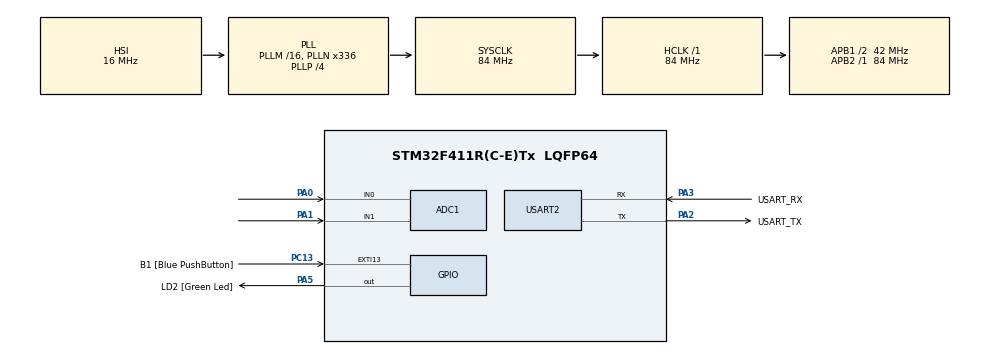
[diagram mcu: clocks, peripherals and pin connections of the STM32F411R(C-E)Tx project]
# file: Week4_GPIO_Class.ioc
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ADC1.Channel-1\#ChannelRegularConversion=ADC_CHANNEL_0
ADC1.Channel-2\#ChannelRegularConversion=ADC_CHANNEL_1
ADC1.Channel-3\#ChannelRegularConversion=ADC_CHANNEL_TEMPSENSOR
ADC1.Channel-4\#ChannelRegularConversion=ADC_CHANNEL_VREFINT
ADC1.ContinuousConvMode=ENABLE
ADC1.DMAContinuousRequests=ENABLE
ADC1.NbrOfConversion=4
ADC1.NbrOfConversionFlag=1
ADC1.Rank-1\#ChannelRegularConversion=1
ADC1.Rank-2\#ChannelRegularConversion=2
ADC1.Rank-3\#ChannelRegularConversion=3
ADC1.Rank-4\#ChannelRegularConversion=4
ADC1.SamplingTime-1\#ChannelRegularConversion=ADC_SAMPLETIME_56CYCLES
ADC1.SamplingTime-2\#ChannelRegularConversion=ADC_SAMPLETIME_56CYCLES
ADC1.SamplingTime-3\#ChannelRegularConversion=ADC_SAMPLETIME_56CYCLES
ADC1.SamplingTime-4\#ChannelRegularConversion=ADC_SAMPLETIME_56CYCLES
ADC1.ScanConvMode=ENABLE
ADC1.master=1
Dma.ADC1.0.Direction=DMA_PERIPH_TO_MEMORY
Dma.ADC1.0.FIFOMode=DMA_FIFOMODE_DISABLE
Dma.ADC1.0.Instance=DMA2_Stream0
Dma.ADC1.0.MemDataAlignment=DMA_MDATAALIGN_WORD
Dma.ADC1.0.MemInc=DMA_MINC_ENABLE
Dma.ADC1.0.Mode=DMA_CIRCULAR
Dma.ADC1.0.PeriphDataAlignment=DMA_PDATAALIGN_WORD
Dma.ADC1.0.PeriphInc=DMA_PINC_DISABLE
Dma.ADC1.0.Priority=DMA_PRIORITY_LOW
Dma.Request0=ADC1
Mcu.Family=STM32F4
Mcu.Name=STM32F411R(C-E)Tx
Mcu.Package=LQFP64
NVIC.DMA2_Stream0_IRQn=true\:0\:0\:false\:false\:true\:false\:true
NVIC.EXTI15_10_IRQn=true\:0\:0\:false\:false\:true\:true\:true
NVIC.PriorityGroup=NVIC_PRIORITYGROUP_0
PA0-WKUP.Signal=ADCx_IN0
PA1.Signal=ADCx_IN1
PA13.GPIO_Label=TMS
PA13.Mode=Serial_Wire
PA13.Signal=SYS_JTMS-SWDIO
PA14.GPIO_Label=TCK
PA14.Mode=Serial_Wire
PA14.Signal=SYS_JTCK-SWCLK
PA2.GPIO_Label=USART_TX
PA2.Mode=Asynchronous
PA2.Signal=USART2_TX
PA3.GPIO_Label=USART_RX
PA3.Mode=Asynchronous
PA3.Signal=USART2_RX
PA5.GPIO_Label=LD2 [Green Led]
PA5.Signal=GPIO_Output
PB3.GPIO_Label=SWO
PB3.Signal=SYS_JTDO-SWO
PC13-ANTI_TAMP.GPIO_Label=B1 [Blue PushButton]
PC13-ANTI_TAMP.GPIO_ModeDefaultEXTI=GPIO_MODE_IT_RISING_FALLING
PC13-ANTI_TAMP.GPIO_PuPd=GPIO_PULLUP
PC13-ANTI_TAMP.Signal=GPXTI13
PC14-OSC32_IN.Mode=LSE-External-Oscillator
PC14-OSC32_IN.Signal=RCC_OSC32_IN
PC15-OSC32_OUT.Mode=LSE-External-Oscillator
PC15-OSC32_OUT.Signal=RCC_OSC32_OUT
PH0\ -\ OSC_IN.Mode=HSE-External-Clock-Source
PH0\ -\ OSC_IN.Signal=RCC_OSC_IN
PH1\ -\ OSC_OUT.Mode=HSE-External-Clock-Source
PH1\ -\ OSC_OUT.Signal=RCC_OSC_OUT
ProjectManager.HeapSize=0x200
ProjectManager.StackSize=0x400
ProjectManager.TargetToolchain=STM32CubeIDE
RCC.48MHZClocksFreq_Value=84000000
RCC.AHBFreq_Value=84000000
RCC.APB1CLKDivider=RCC_HCLK_DIV2
RCC.APB1Freq_Value=42000000
RCC.APB1TimFreq_Value=84000000
RCC.APB2Freq_Value=84000000
RCC.APB2TimFreq_Value=84000000
RCC.CortexFreq_Value=84000000
RCC.FLatency-AdvancedSettings=FLASH_LATENCY_2
RCC.HCLKFreq_Value=84000000
RCC.HSE_VALUE=8000000
RCC.HSI_VALUE=16000000
RCC.PLLN=336
RCC.PLLP=RCC_PLLP_DIV4
RCC.SYSCLKFreq_VALUE=84000000
RCC.SYSCLKSource=RCC_SYSCLKSOURCE_PLLCLK
RCC.VCOOutputFreq_Value=336000000
SH.ADCx_IN0.0=ADC1_IN0,IN0
SH.ADCx_IN1.0=ADC1_IN1,IN1
USART2.VirtualMode=VM_ASYNC
VP_ADC1_TempSens_Input.Mode=IN-TempSens
VP_ADC1_Vref_Input.Mode=IN-Vrefint
board=NUCLEO-F411RE

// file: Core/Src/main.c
/* USER CODE BEGIN Header */
/**
  ******************************************************************************
  * @file           : main.c
  * @brief          : Main program body
  ******************************************************************************
  * @attention
  *
  * <h2><center>&copy; Copyright (c) 2021 STMicroelectronics.
  * All rights reserved.</center></h2>
  *
  * This software component is licensed by ST under BSD 3-Clause license,
  * the "License"; You may not use this file except in compliance with the
  * License. You may obtain a copy of the License at:
  *                        opensource.org/licenses/BSD-3-Clause
  *
  ******************************************************************************
  */
/* USER CODE END Header */
#include "main.h"

ADC_HandleTypeDef hadc1;
DMA_HandleTypeDef hdma_adc1;

UART_HandleTypeDef huart2;

/* USER CODE BEGIN PV */
uint32_t ADCData[4]={0};
uint8_t Mode =0;
uint32_t TimeDelay=0;
uint32_t TimeStamp =0;
uint32_t TimeStampOut =0;
uint32_t count =0;
int k=0;
/* USER CODE END PV */

void SystemClock_Config(void);
static void MX_GPIO_Init(void);
static void MX_DMA_Init(void);
static void MX_USART2_UART_Init(void);
static void MX_ADC1_Init(void);

int main(void)
{

  /* MCU Configuration--------------------------------------------------------*/

  /* Reset of all peripherals, Initializes the Flash interface and the Systick. */
  HAL_Init();

  /* Configure the system clock */
  SystemClock_Config();

  /* Initialize all configured peripherals */
  MX_GPIO_Init();
  MX_DMA_Init();
  MX_USART2_UART_Init();
  MX_ADC1_Init();
  /* USER CODE BEGIN 2 */
  HAL_ADC_Start_DMA(&hadc1, ADCData, 4);
  /* USER CODE END 2 */

  /* Infinite loop */
  /* USER CODE BEGIN WHILE */
  HAL_GPIO_WritePin(LD2_GPIO_Port, LD2_Pin, GPIO_PIN_SET);
  while (1)
  {
    /* USER CODE END WHILE */

    /* USER CODE BEGIN 3 */

	  if(Mode ==1 &&k==0){
		  HAL_GPIO_WritePin(LD2_GPIO_Port, LD2_Pin, GPIO_PIN_RESET);
		  TimeDelay = 1000 +((22695477* ADCData[0]) +ADCData[1])% 10000;
		  TimeStamp = HAL_GetTick();
		  while(TimeDelay >= (HAL_GetTick()-TimeStamp)){
			  if ((Mode ==0) && (HAL_GPIO_ReadPin(LD2_GPIO_Port,LD2_Pin) == GPIO_PIN_RESET)){
				  count=999999999 ;
		  	  }
		  }
		  HAL_GPIO_WritePin(LD2_GPIO_Port, LD2_Pin, GPIO_PIN_SET);
		  k=1;
	  }

	  if(Mode ==0 && k==1){
		  TimeStampOut =HAL_GetTick();
		  count = TimeStampOut - (TimeDelay + TimeStamp);
		  k=0;
	  }
  }
  /* USER CODE END 3 */
}

void SystemClock_Config(void)
{
  RCC_OscInitTypeDef RCC_OscInitStruct = {0};
  RCC_ClkInitTypeDef RCC_ClkInitStruct = {0};

  /** Configure the main internal regulator output voltage
  */
  __HAL_RCC_PWR_CLK_ENABLE();
  __HAL_PWR_VOLTAGESCALING_CONFIG(PWR_REGULATOR_VOLTAGE_SCALE1);
  /** Initializes the RCC Oscillators according to the specified parameters
  * in the RCC_OscInitTypeDef structure.
  */
  RCC_OscInitStruct.OscillatorType = RCC_OSCILLATORTYPE_HSI;
  RCC_OscInitStruct.HSIState = RCC_HSI_ON;
  RCC_OscInitStruct.HSICalibrationValue = RCC_HSICALIBRATION_DEFAULT;
  RCC_OscInitStruct.PLL.PLLState = RCC_PLL_ON;
  RCC_OscInitStruct.PLL.PLLSource = RCC_PLLSOURCE_HSI;
  RCC_OscInitStruct.PLL.PLLM = 16;
  RCC_OscInitStruct.PLL.PLLN = 336;
  RCC_OscInitStruct.PLL.PLLP = RCC_PLLP_DIV4;
  RCC_OscInitStruct.PLL.PLLQ = 4;
  if (HAL_RCC_OscConfig(&RCC_OscInitStruct) != HAL_OK)
  {
    Error_Handler();
  }
  /** Initializes the CPU, AHB and APB buses clocks
  */
  RCC_ClkInitStruct.ClockType = RCC_CLOCKTYPE_HCLK|RCC_CLOCKTYPE_SYSCLK
                              |RCC_CLOCKTYPE_PCLK1|RCC_CLOCKTYPE_PCLK2;
  RCC_ClkInitStruct.SYSCLKSource = RCC_SYSCLKSOURCE_PLLCLK;
  RCC_ClkInitStruct.AHBCLKDivider = RCC_SYSCLK_DIV1;
  RCC_ClkInitStruct.APB1CLKDivider = RCC_HCLK_DIV2;
  RCC_ClkInitStruct.APB2CLKDivider = RCC_HCLK_DIV1;

  if (HAL_RCC_ClockConfig(&RCC_ClkInitStruct, FLASH_LATENCY_2) != HAL_OK)
  {
    Error_Handler();
  }
}

static void MX_ADC1_Init(void)
{

  ADC_ChannelConfTypeDef sConfig = {0};

  /** Configure the global features of the ADC (Clock, Resolution, Data Alignment and number of conversion)
  */
  hadc1.Instance = ADC1;
  hadc1.Init.ClockPrescaler = ADC_CLOCK_SYNC_PCLK_DIV4;
  hadc1.Init.Resolution = ADC_RESOLUTION_12B;
  hadc1.Init.ScanConvMode = ENABLE;
  hadc1.Init.ContinuousConvMode = ENABLE;
  hadc1.Init.DiscontinuousConvMode = DISABLE;
  hadc1.Init.ExternalTrigConvEdge = ADC_EXTERNALTRIGCONVEDGE_NONE;
  hadc1.Init.ExternalTrigConv = ADC_SOFTWARE_START;
  hadc1.Init.DataAlign = ADC_DATAALIGN_RIGHT;
  hadc1.Init.NbrOfConversion = 4;
  hadc1.Init.DMAContinuousRequests = ENABLE;
  hadc1.Init.EOCSelection = ADC_EOC_SINGLE_CONV;
  if (HAL_ADC_Init(&hadc1) != HAL_OK)
  {
    Error_Handler();
  }
  /** Configure for the selected ADC regular channel its corresponding rank in the sequencer and its sample time.
  */
  sConfig.Channel = ADC_CHANNEL_0;
  sConfig.Rank = 1;
  sConfig.SamplingTime = ADC_SAMPLETIME_56CYCLES;
  if (HAL_ADC_ConfigChannel(&hadc1, &sConfig) != HAL_OK)
  {
    Error_Handler();
  }
  /** Configure for the selected ADC regular channel its corresponding rank in the sequencer and its sample time.
  */
  sConfig.Channel = ADC_CHANNEL_1;
  sConfig.Rank = 2;
  if (HAL_ADC_ConfigChannel(&hadc1, &sConfig) != HAL_OK)
  {
    Error_Handler();
  }
  /** Configure for the selected ADC regular channel its corresponding rank in the sequencer and its sample time.
  */
  sConfig.Channel = ADC_CHANNEL_TEMPSENSOR;
  sConfig.Rank = 3;
  if (HAL_ADC_ConfigChannel(&hadc1, &sConfig) != HAL_OK)
  {
    Error_Handler();
  }
  /** Configure for the selected ADC regular channel its corresponding rank in the sequencer and its sample time.
  */
  sConfig.Channel = ADC_CHANNEL_VREFINT;
  sConfig.Rank = 4;
  if (HAL_ADC_ConfigChannel(&hadc1, &sConfig) != HAL_OK)
  {
    Error_Handler();
  }

}

static void MX_USART2_UART_Init(void)
{

  huart2.Instance = USART2;
  huart2.Init.BaudRate = 115200;
  huart2.Init.WordLength = UART_WORDLENGTH_8B;
  huart2.Init.StopBits = UART_STOPBITS_1;
  huart2.Init.Parity = UART_PARITY_NONE;
  huart2.Init.Mode = UART_MODE_TX_RX;
  huart2.Init.HwFlowCtl = UART_HWCONTROL_NONE;
  huart2.Init.OverSampling = UART_OVERSAMPLING_16;
  if (HAL_UART_Init(&huart2) != HAL_OK)
  {
    Error_Handler();
  }

}

static void MX_DMA_Init(void)
{

  /* DMA controller clock enable */
  __HAL_RCC_DMA2_CLK_ENABLE();

  /* DMA interrupt init */
  /* DMA2_Stream0_IRQn interrupt configuration */
  HAL_NVIC_SetPriority(DMA2_Stream0_IRQn, 0, 0);
  HAL_NVIC_EnableIRQ(DMA2_Stream0_IRQn);

}

static void MX_GPIO_Init(void)
{
  GPIO_InitTypeDef GPIO_InitStruct = {0};

  /* GPIO Ports Clock Enable */
  __HAL_RCC_GPIOC_CLK_ENABLE();
  __HAL_RCC_GPIOH_CLK_ENABLE();
  __HAL_RCC_GPIOA_CLK_ENABLE();
  __HAL_RCC_GPIOB_CLK_ENABLE();

  /*Configure GPIO pin Output Level */
  HAL_GPIO_WritePin(LD2_GPIO_Port, LD2_Pin, GPIO_PIN_RESET);

  /*Configure GPIO pin : B1_Pin */
  GPIO_InitStruct.Pin = B1_Pin;
  GPIO_InitStruct.Mode = GPIO_MODE_IT_RISING_FALLING;
  GPIO_InitStruct.Pull = GPIO_PULLUP;
  HAL_GPIO_Init(B1_GPIO_Port, &GPIO_InitStruct);

  /*Configure GPIO pin : LD2_Pin */
  GPIO_InitStruct.Pin = LD2_Pin;
  GPIO_InitStruct.Mode = GPIO_MODE_OUTPUT_PP;
  GPIO_InitStruct.Pull = GPIO_NOPULL;
  GPIO_InitStruct.Speed = GPIO_SPEED_FREQ_LOW;
  HAL_GPIO_Init(LD2_GPIO_Port, &GPIO_InitStruct);

  /* EXTI interrupt init*/
  HAL_NVIC_SetPriority(EXTI15_10_IRQn, 0, 0);
  HAL_NVIC_EnableIRQ(EXTI15_10_IRQn);

}

/* USER CODE BEGIN 4 */
void HAL_GPIO_EXTI_Callback(uint16_t GPIO_Pin){
	if(GPIO_Pin == GPIO_PIN_13){
		if(Mode ==0){
			Mode =1;
		}
		else{
			Mode =0;
		}
	}
}
/* USER CODE END 4 */

void Error_Handler(void)
{
  __disable_irq();
  while (1)
  {
  }
}

/************************ (C) COPYRIGHT STMicroelectronics *****END OF FILE****/
